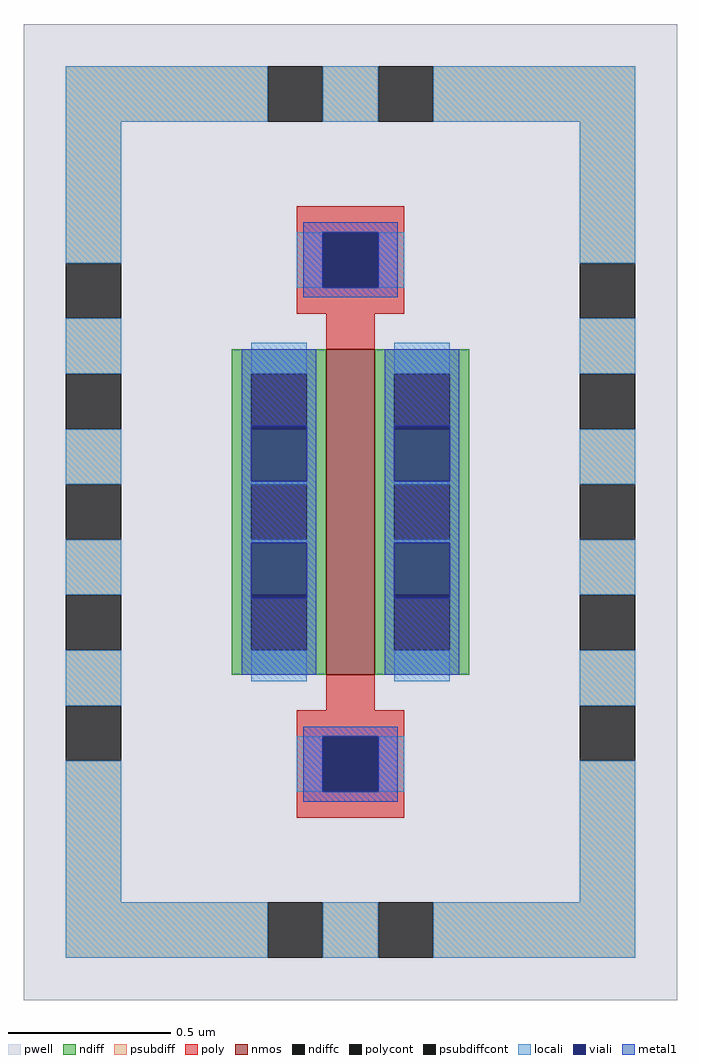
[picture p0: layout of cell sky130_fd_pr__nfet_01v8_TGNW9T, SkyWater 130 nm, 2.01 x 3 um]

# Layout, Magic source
magic
tech sky130A
magscale 1 2
<< pwell >>
rect -201 -300 201 300
<< nmos >>
rect -15 -100 15 100
<< ndiff >>
rect -73 85 -15 100
rect -73 51 -61 85
rect -27 51 -15 85
rect -73 17 -15 51
rect -73 -17 -61 17
rect -27 -17 -15 17
rect -73 -51 -15 -17
rect -73 -85 -61 -51
rect -27 -85 -15 -51
rect -73 -100 -15 -85
rect 15 85 73 100
rect 15 51 27 85
rect 61 51 73 85
rect 15 17 73 51
rect 15 -17 27 17
rect 61 -17 73 17
rect 15 -51 73 -17
rect 15 -85 27 -51
rect 61 -85 73 -51
rect 15 -100 73 -85
<< ndiffc >>
rect -61 51 -27 85
rect -61 -17 -27 17
rect -61 -85 -27 -51
rect 27 51 61 85
rect 27 -17 61 17
rect 27 -85 61 -51
<< psubdiff >>
rect -175 240 -51 274
rect -17 240 17 274
rect 51 240 175 274
rect -175 153 -141 240
rect 141 153 175 240
rect -175 85 -141 119
rect -175 17 -141 51
rect -175 -51 -141 -17
rect -175 -119 -141 -85
rect 141 85 175 119
rect 141 17 175 51
rect 141 -51 175 -17
rect 141 -119 175 -85
rect -175 -240 -141 -153
rect 141 -240 175 -153
rect -175 -274 -51 -240
rect -17 -274 17 -240
rect 51 -274 175 -240
<< psubdiffcont >>
rect -51 240 -17 274
rect 17 240 51 274
rect -175 119 -141 153
rect 141 119 175 153
rect -175 51 -141 85
rect -175 -17 -141 17
rect -175 -85 -141 -51
rect 141 51 175 85
rect 141 -17 175 17
rect 141 -85 175 -51
rect -175 -153 -141 -119
rect 141 -153 175 -119
rect -51 -274 -17 -240
rect 17 -274 51 -240
<< poly >>
rect -33 172 33 188
rect -33 138 -17 172
rect 17 138 33 172
rect -33 122 33 138
rect -15 100 15 122
rect -15 -122 15 -100
rect -33 -138 33 -122
rect -33 -172 -17 -138
rect 17 -172 33 -138
rect -33 -188 33 -172
<< polycont >>
rect -17 138 17 172
rect -17 -172 17 -138
<< locali >>
rect -175 240 -51 274
rect -17 240 17 274
rect 51 240 175 274
rect -175 153 -141 240
rect -33 138 -17 172
rect 17 138 33 172
rect 141 153 175 240
rect -175 85 -141 119
rect -175 17 -141 51
rect -175 -51 -141 -17
rect -175 -119 -141 -85
rect -61 85 -27 104
rect -61 17 -27 19
rect -61 -19 -27 -17
rect -61 -104 -27 -85
rect 27 85 61 104
rect 27 17 61 19
rect 27 -19 61 -17
rect 27 -104 61 -85
rect 141 85 175 119
rect 141 17 175 51
rect 141 -51 175 -17
rect 141 -119 175 -85
rect -175 -240 -141 -153
rect -33 -172 -17 -138
rect 17 -172 33 -138
rect 141 -240 175 -153
rect -175 -274 -51 -240
rect -17 -274 17 -240
rect 51 -274 175 -240
<< viali >>
rect -17 138 17 172
rect -61 51 -27 53
rect -61 19 -27 51
rect -61 -51 -27 -19
rect -61 -53 -27 -51
rect 27 51 61 53
rect 27 19 61 51
rect 27 -51 61 -19
rect 27 -53 61 -51
rect -17 -172 17 -138
<< metal1 >>
rect -29 172 29 178
rect -29 138 -17 172
rect 17 138 29 172
rect -29 132 29 138
rect -67 53 -21 100
rect -67 19 -61 53
rect -27 19 -21 53
rect -67 -19 -21 19
rect -67 -53 -61 -19
rect -27 -53 -21 -19
rect -67 -100 -21 -53
rect 21 53 67 100
rect 21 19 27 53
rect 61 19 67 53
rect 21 -19 67 19
rect 21 -53 27 -19
rect 61 -53 67 -19
rect 21 -100 67 -53
rect -29 -138 29 -132
rect -29 -172 -17 -138
rect 17 -172 29 -138
rect -29 -178 29 -172
<< properties >>
string FIXED_BBOX -158 -257 158 257
<< end >>
